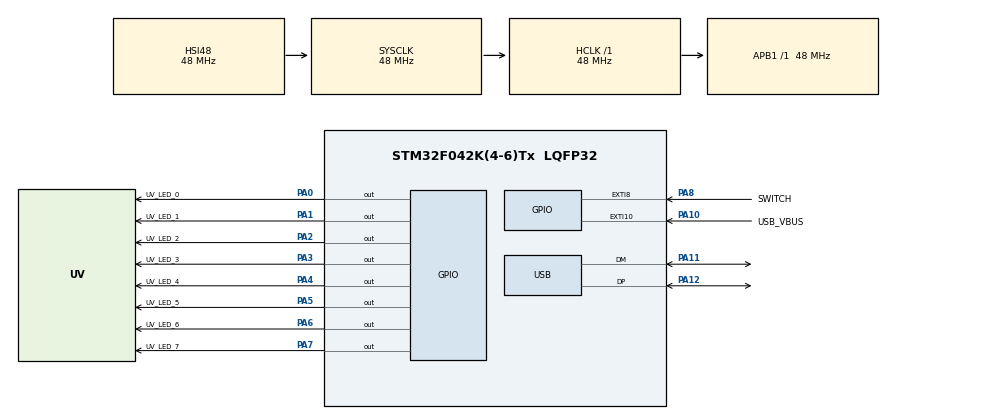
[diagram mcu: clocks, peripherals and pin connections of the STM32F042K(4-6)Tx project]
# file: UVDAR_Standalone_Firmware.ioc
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Mcu.Family=STM32F0
Mcu.Name=STM32F042K(4-6)Tx
Mcu.Package=LQFP32
NVIC.EXTI4_15_IRQn=true\:0\:0\:false\:false\:true\:true\:true
NVIC.TIM3_IRQn=true\:0\:0\:false\:false\:true\:true\:true
NVIC.USB_IRQn=true\:0\:0\:false\:false\:true\:false\:true
PA0.GPIO_Label=UV_LED_0
PA0.GPIO_Speed=GPIO_SPEED_FREQ_HIGH
PA0.Signal=GPIO_Output
PA1.GPIO_Label=UV_LED_1
PA1.GPIO_Speed=GPIO_SPEED_FREQ_HIGH
PA1.Signal=GPIO_Output
PA10.GPIO_Label=USB_VBUS
PA10.GPIO_ModeDefaultEXTI=GPIO_MODE_IT_RISING_FALLING
PA10.Signal=GPXTI10
PA11.Mode=Device
PA11.Signal=USB_DM
PA12.Mode=Device
PA12.Signal=USB_DP
PA13.Mode=Serial_Wire
PA13.Signal=SYS_SWDIO
PA14.Mode=Serial_Wire
PA14.Signal=SYS_SWCLK
PA2.GPIO_Label=UV_LED_2
PA2.GPIO_Speed=GPIO_SPEED_FREQ_HIGH
PA2.Signal=GPIO_Output
PA3.GPIO_Label=UV_LED_3
PA3.GPIO_Speed=GPIO_SPEED_FREQ_HIGH
PA3.Signal=GPIO_Output
PA4.GPIO_Label=UV_LED_4
PA4.GPIO_Speed=GPIO_SPEED_FREQ_HIGH
PA4.Signal=GPIO_Output
PA5.GPIO_Label=UV_LED_5
PA5.GPIO_Speed=GPIO_SPEED_FREQ_HIGH
PA5.Signal=GPIO_Output
PA6.GPIO_Label=UV_LED_6
PA6.GPIO_Speed=GPIO_SPEED_FREQ_HIGH
PA6.Signal=GPIO_Output
PA7.GPIO_Label=UV_LED_7
PA7.GPIO_Speed=GPIO_SPEED_FREQ_HIGH
PA7.Signal=GPIO_Output
PA8.GPIO_Label=SWITCH
PA8.Signal=GPXTI8
PF0-OSC_IN.Mode=HSE-External-Oscillator
PF0-OSC_IN.Signal=RCC_OSC_IN
PF1-OSC_OUT.Mode=HSE-External-Oscillator
PF1-OSC_OUT.Signal=RCC_OSC_OUT
ProjectManager.HeapSize=0x200
ProjectManager.StackSize=0x400
ProjectManager.TargetToolchain=STM32CubeIDE
RCC.AHBFreq_Value=48000000
RCC.APB1Freq_Value=48000000
RCC.APB1TimFreq_Value=48000000
RCC.HCLKFreq_Value=48000000
RCC.HSE_VALUE=16000000
RCC.SYSCLKFreq_VALUE=48000000
RCC.SYSCLKSource=RCC_SYSCLKSOURCE_HSI48
TIM3.AutoReloadPreload=TIM_AUTORELOAD_PRELOAD_ENABLE
TIM3.Period=100-1
TIM3.Prescaler=48-1
USB_DEVICE.APP_RX_DATA_SIZE=256
USB_DEVICE.APP_TX_DATA_SIZE=266
USB_DEVICE.CLASS_NAME_FS=CDC
USB_DEVICE.MANUFACTURER_STRING=MRS FEL CVUT
USB_DEVICE.PID_CDC_FS=0x1ed1
USB_DEVICE.PRODUCT_STRING_CDC_FS=UVDAR Controller
USB_DEVICE.USBD_MAX_STR_DESC_SIZ=512
USB_DEVICE.VID=0xfe10
USB_DEVICE.VirtualMode=Cdc
USB_DEVICE.VirtualModeFS=Cdc_FS
VP_TIM3_VS_ClockSourceINT.Mode=Internal
VP_USB_DEVICE_VS_USB_DEVICE_CDC_FS.Mode=CDC_FS
board=custom

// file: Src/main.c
/* USER CODE BEGIN Header */
/**
  ******************************************************************************
  * @file           : main.c
  * @brief          : Main program body
  ******************************************************************************
  * @attention
  *
  * <h2><center>&copy; Copyright (c) 2019 STMicroelectronics.
  * All rights reserved.</center></h2>
  *
  * This software component is licensed by ST under Ultimate Liberty license
  * SLA0044, the "License"; You may not use this file except in compliance with
  * the License. You may obtain a copy of the License at:
  *                             www.st.com/SLA0044
  *
  ******************************************************************************
  */
/* USER CODE END Header */
#include "main.h"
#include "usb_device.h"

/* USER CODE BEGIN Includes */
#include "uv_led_driver.h"
#include "stm32f0xx_hal_flash_ex.h"
/* USER CODE END Includes */

/* USER CODE BEGIN PD */
#define FW_VERSION_H	1
#define FW_VERSION_L	0

#define BUFFER_SIZE 255
/* USER CODE END PD */

TIM_HandleTypeDef htim3;

/* USER CODE BEGIN PV */
/*osThreadId usb_read_taskHandle;
osThreadId usb_write_taskHandle;

osSemaphoreId semaphore_usbHandle;*/

//extern uint8_t usb_rx_buffer [64];
//extern uint32_t usb_rx_buffer_length;
//extern uint8_t new_data_received;
//extern uint8_t UserRxBufferFS[64];

extern uint32_t uv_led_counter[8];
extern uint32_t uv_led_periods_ms[8];
extern uint8_t enable_global;

uint8_t usb_rx_buff[BUFFER_SIZE];
uint8_t usb_rx_buff_size = 0;

/* USER CODE END PV */

void SystemClock_Config(void);
static void MX_GPIO_Init(void);
static void MX_TIM3_Init(void);

int main(void)
{

  /* MCU Configuration--------------------------------------------------------*/

  /* Reset of all peripherals, Initializes the Flash interface and the Systick. */
  HAL_Init();

  /* Configure the system clock */
  SystemClock_Config();

  /* Initialize all configured peripherals */
  MX_GPIO_Init();
  MX_USB_DEVICE_Init();
  MX_TIM3_Init();
  /* USER CODE BEGIN 2 */

  // Initialize UV LEDs - sets pins and loads values from FLASH
  uv_led_init();

  // Start TIM3
  HAL_TIM_Base_Start_IT(&htim3);

  /* USER CODE END 2 */

  /* Infinite loop */
  while (1)
  {

  }
}

void SystemClock_Config(void)
{
  RCC_OscInitTypeDef RCC_OscInitStruct = {0};
  RCC_ClkInitTypeDef RCC_ClkInitStruct = {0};
  RCC_PeriphCLKInitTypeDef PeriphClkInit = {0};

  /** Initializes the RCC Oscillators according to the specified parameters
  * in the RCC_OscInitTypeDef structure.
  */
  RCC_OscInitStruct.OscillatorType = RCC_OSCILLATORTYPE_HSI48;
  RCC_OscInitStruct.HSI48State = RCC_HSI48_ON;
  RCC_OscInitStruct.PLL.PLLState = RCC_PLL_NONE;
  if (HAL_RCC_OscConfig(&RCC_OscInitStruct) != HAL_OK)
  {
    Error_Handler();
  }
  /** Initializes the CPU, AHB and APB buses clocks
  */
  RCC_ClkInitStruct.ClockType = RCC_CLOCKTYPE_HCLK|RCC_CLOCKTYPE_SYSCLK
                              |RCC_CLOCKTYPE_PCLK1;
  RCC_ClkInitStruct.SYSCLKSource = RCC_SYSCLKSOURCE_HSI48;
  RCC_ClkInitStruct.AHBCLKDivider = RCC_SYSCLK_DIV1;
  RCC_ClkInitStruct.APB1CLKDivider = RCC_HCLK_DIV1;

  if (HAL_RCC_ClockConfig(&RCC_ClkInitStruct, FLASH_LATENCY_1) != HAL_OK)
  {
    Error_Handler();
  }
  PeriphClkInit.PeriphClockSelection = RCC_PERIPHCLK_USB;
  PeriphClkInit.UsbClockSelection = RCC_USBCLKSOURCE_HSI48;

  if (HAL_RCCEx_PeriphCLKConfig(&PeriphClkInit) != HAL_OK)
  {
    Error_Handler();
  }
}

static void MX_TIM3_Init(void)
{

  TIM_ClockConfigTypeDef sClockSourceConfig = {0};
  TIM_MasterConfigTypeDef sMasterConfig = {0};

  htim3.Instance = TIM3;
  htim3.Init.Prescaler = 48-1;
  htim3.Init.CounterMode = TIM_COUNTERMODE_UP;
  htim3.Init.Period = 100-1;
  htim3.Init.ClockDivision = TIM_CLOCKDIVISION_DIV1;
  htim3.Init.AutoReloadPreload = TIM_AUTORELOAD_PRELOAD_ENABLE;
  if (HAL_TIM_Base_Init(&htim3) != HAL_OK)
  {
    Error_Handler();
  }
  sClockSourceConfig.ClockSource = TIM_CLOCKSOURCE_INTERNAL;
  if (HAL_TIM_ConfigClockSource(&htim3, &sClockSourceConfig) != HAL_OK)
  {
    Error_Handler();
  }
  sMasterConfig.MasterOutputTrigger = TIM_TRGO_RESET;
  sMasterConfig.MasterSlaveMode = TIM_MASTERSLAVEMODE_DISABLE;
  if (HAL_TIMEx_MasterConfigSynchronization(&htim3, &sMasterConfig) != HAL_OK)
  {
    Error_Handler();
  }

}

static void MX_GPIO_Init(void)
{
  GPIO_InitTypeDef GPIO_InitStruct = {0};

  /* GPIO Ports Clock Enable */
  __HAL_RCC_GPIOF_CLK_ENABLE();
  __HAL_RCC_GPIOA_CLK_ENABLE();

  /*Configure GPIO pin Output Level */
  HAL_GPIO_WritePin(GPIOA, UV_LED_0_Pin|UV_LED_1_Pin|UV_LED_2_Pin|UV_LED_3_Pin
                          |UV_LED_4_Pin|UV_LED_5_Pin|UV_LED_6_Pin|UV_LED_7_Pin, GPIO_PIN_RESET);

  /*Configure GPIO pins : UV_LED_0_Pin UV_LED_1_Pin UV_LED_2_Pin UV_LED_3_Pin
                           UV_LED_4_Pin UV_LED_5_Pin UV_LED_6_Pin UV_LED_7_Pin */
  GPIO_InitStruct.Pin = UV_LED_0_Pin|UV_LED_1_Pin|UV_LED_2_Pin|UV_LED_3_Pin
                          |UV_LED_4_Pin|UV_LED_5_Pin|UV_LED_6_Pin|UV_LED_7_Pin;
  GPIO_InitStruct.Mode = GPIO_MODE_OUTPUT_PP;
  GPIO_InitStruct.Pull = GPIO_NOPULL;
  GPIO_InitStruct.Speed = GPIO_SPEED_FREQ_HIGH;
  HAL_GPIO_Init(GPIOA, &GPIO_InitStruct);

  /*Configure GPIO pin : SWITCH_Pin */
  GPIO_InitStruct.Pin = SWITCH_Pin;
  GPIO_InitStruct.Mode = GPIO_MODE_IT_RISING;
  GPIO_InitStruct.Pull = GPIO_NOPULL;
  HAL_GPIO_Init(SWITCH_GPIO_Port, &GPIO_InitStruct);

  /*Configure GPIO pin : USB_VBUS_Pin */
  GPIO_InitStruct.Pin = USB_VBUS_Pin;
  GPIO_InitStruct.Mode = GPIO_MODE_IT_RISING_FALLING;
  GPIO_InitStruct.Pull = GPIO_NOPULL;
  HAL_GPIO_Init(USB_VBUS_GPIO_Port, &GPIO_InitStruct);

  /* EXTI interrupt init*/
  HAL_NVIC_SetPriority(EXTI4_15_IRQn, 0, 0);
  HAL_NVIC_EnableIRQ(EXTI4_15_IRQn);

}

/* USER CODE BEGIN 4 */

void HAL_GPIO_EXTI_Callback(uint16_t GPIO_Pin)
{
	// If the Interrupt came from SWITCH Pin
	if (GPIO_Pin == SWITCH_Pin)
	{
		// Toggle the UVLEDs global enable flag
		enable_global = !enable_global;
	}
}

/**
 * @brief  Period elapsed callback in non blocking mode
 * @note   This function is called  when TIM1 interrupt took place, inside
 * HAL_TIM_IRQHandler(). It makes a direct call to HAL_IncTick() to increment
 * a global variable "uwTick" used as application time base.
 * @param  htim : TIM handle
 * @retval None
 */
void HAL_TIM_PeriodElapsedCallback(TIM_HandleTypeDef *htim)
{
 /* USER CODE BEGIN Callback 0 */
	// Check if the callback came from TIM3
	if (htim->Instance == TIM3)
	{
		// Check UVLED toggle counters
		for (int i = 0; i < 8; i++)
		{
			// If toggle counter reached the max value toggle the UVLED and reset counter
			if (uv_led_counter[i] >= uv_led_periods_ms[i])
			{
				uv_led_toggle(i);
				uv_led_counter[i] = 0;
			// increment counter
			} else{
				uv_led_counter[i]++;
			}
		}
	}
 /* USER CODE END Callback 0 */
 if (htim->Instance == TIM3) {
   HAL_IncTick();
 }
 /* USER CODE BEGIN Callback 1 */

 /* USER CODE END Callback 1 */
}
/* USER CODE END 4 */

void Error_Handler(void)
{
}

/************************ (C) COPYRIGHT STMicroelectronics *****END OF FILE****/
